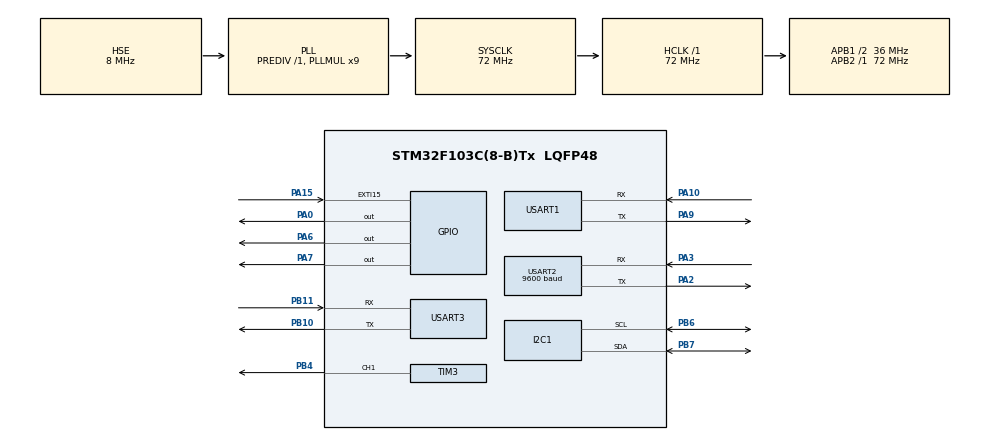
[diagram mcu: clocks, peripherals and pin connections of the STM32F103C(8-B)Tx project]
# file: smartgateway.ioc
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Dma.Request0=USART3_RX
Dma.Request1=USART3_TX
Dma.USART3_RX.0.Direction=DMA_PERIPH_TO_MEMORY
Dma.USART3_RX.0.Instance=DMA1_Channel3
Dma.USART3_RX.0.MemDataAlignment=DMA_MDATAALIGN_BYTE
Dma.USART3_RX.0.MemInc=DMA_MINC_ENABLE
Dma.USART3_RX.0.Mode=DMA_NORMAL
Dma.USART3_RX.0.PeriphDataAlignment=DMA_PDATAALIGN_BYTE
Dma.USART3_RX.0.PeriphInc=DMA_PINC_DISABLE
Dma.USART3_RX.0.Priority=DMA_PRIORITY_LOW
Dma.USART3_TX.1.Direction=DMA_MEMORY_TO_PERIPH
Dma.USART3_TX.1.Instance=DMA1_Channel2
Dma.USART3_TX.1.MemDataAlignment=DMA_MDATAALIGN_BYTE
Dma.USART3_TX.1.MemInc=DMA_MINC_ENABLE
Dma.USART3_TX.1.Mode=DMA_NORMAL
Dma.USART3_TX.1.PeriphDataAlignment=DMA_PDATAALIGN_BYTE
Dma.USART3_TX.1.PeriphInc=DMA_PINC_DISABLE
Dma.USART3_TX.1.Priority=DMA_PRIORITY_LOW
FREERTOS.Tasks01=defaultTask,24,128,StartDefaultTask,Default,NULL,Dynamic,NULL,NULL
FREERTOS.configTOTAL_HEAP_SIZE=6144
Mcu.Family=STM32F1
Mcu.Name=STM32F103C(8-B)Tx
Mcu.Package=LQFP48
NVIC.DMA1_Channel2_IRQn=true\:5\:0\:false\:false\:true\:true\:false\:true\:true
NVIC.DMA1_Channel3_IRQn=true\:5\:0\:false\:false\:true\:true\:false\:true\:true
NVIC.EXTI15_10_IRQn=true\:10\:0\:true\:false\:true\:true\:true\:true\:true
NVIC.PriorityGroup=NVIC_PRIORITYGROUP_4
NVIC.TIM2_IRQn=true\:8\:0\:true\:false\:true\:false\:false\:true\:true
NVIC.TIM4_IRQn=true\:15\:0\:true\:false\:true\:true\:true\:true\:true
NVIC.TimeBase=TIM2_IRQn
NVIC.TimeBaseIP=TIM2
NVIC.USART1_IRQn=true\:10\:0\:true\:false\:true\:true\:true\:true\:true
NVIC.USART3_IRQn=true\:10\:0\:true\:false\:true\:true\:true\:true\:true
PA0-WKUP.Signal=GPIO_Output
PA10.Mode=Asynchronous
PA10.Signal=USART1_RX
PA13.Mode=Serial_Wire
PA13.Signal=SYS_JTMS-SWDIO
PA14.Mode=Serial_Wire
PA14.Signal=SYS_JTCK-SWCLK
PA15.Signal=GPXTI15
PA2.Mode=Asynchronous
PA2.Signal=USART2_TX
PA3.Mode=Asynchronous
PA3.Signal=USART2_RX
PA6.Signal=GPIO_Output
PA7.Signal=GPIO_Output
PA9.Mode=Asynchronous
PA9.Signal=USART1_TX
PB10.Mode=Asynchronous
PB10.Signal=USART3_TX
PB11.Mode=Asynchronous
PB11.Signal=USART3_RX
PB4.Signal=S_TIM3_CH1
PB6.Mode=I2C
PB6.Signal=I2C1_SCL
PB7.Mode=I2C
PB7.Signal=I2C1_SDA
PC14-OSC32_IN.Mode=LSE-External-Oscillator
PC14-OSC32_IN.Signal=RCC_OSC32_IN
PC15-OSC32_OUT.Mode=LSE-External-Oscillator
PC15-OSC32_OUT.Signal=RCC_OSC32_OUT
PD0-OSC_IN.Mode=HSE-External-Oscillator
PD0-OSC_IN.Signal=RCC_OSC_IN
PD1-OSC_OUT.Mode=HSE-External-Oscillator
PD1-OSC_OUT.Signal=RCC_OSC_OUT
ProjectManager.HeapSize=0x800
ProjectManager.StackSize=0x400
ProjectManager.TargetToolchain=MDK-ARM V5.32
RCC.AHBFreq_Value=72000000
RCC.APB1CLKDivider=RCC_HCLK_DIV2
RCC.APB1Freq_Value=36000000
RCC.APB1TimFreq_Value=72000000
RCC.APB2Freq_Value=72000000
RCC.APB2TimFreq_Value=72000000
RCC.HCLKFreq_Value=72000000
RCC.PLLMUL=RCC_PLL_MUL9
RCC.PLLSourceVirtual=RCC_PLLSOURCE_HSE
RCC.SYSCLKFreq_VALUE=72000000
RCC.SYSCLKSource=RCC_SYSCLKSOURCE_PLLCLK
RCC.USBFreq_Value=72000000
SH.S_TIM3_CH1.0=TIM3_CH1,PWM Generation1 CH1
TIM3.Channel-PWM\ Generation1\ CH1=TIM_CHANNEL_1
TIM3.OCPolarity_1=TIM_OCPOLARITY_LOW
TIM3.Period=1000-1
TIM3.Prescaler=72-1
TIM4.Period=50000-1
TIM4.Prescaler=7200-1
USART1.VirtualMode=VM_ASYNC
USART2.BaudRate=9600
USART2.VirtualMode=VM_ASYNC
USART3.VirtualMode=VM_ASYNC
VP_FREERTOS_VS_CMSIS_V2.Mode=CMSIS_V2
VP_SYS_VS_tim2.Mode=TIM2
VP_TIM3_VS_ClockSourceINT.Mode=Internal
VP_TIM4_VS_ClockSourceINT.Mode=Internal
board=custom

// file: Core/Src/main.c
/* USER CODE BEGIN Header */
/**
  ******************************************************************************
  * @file           : main.c
  * @brief          : Main program body
  ******************************************************************************
  * @attention
  *
  * Copyright (c) 2025 STMicroelectronics.
  * All rights reserved.
  *
  * This software is licensed under terms that can be found in the LICENSE file
  * in the root directory of this software component.
  * If no LICENSE file comes with this software, it is provided AS-IS.
  *
  ******************************************************************************
  */
/* USER CODE END Header */
#include "main.h"
#include "cmsis_os.h"
#include "dma.h"
#include "i2c.h"
#include "tim.h"
#include "usart.h"
#include "gpio.h"

/* USER CODE BEGIN Includes */
#include "smarthead.h"
#include "ap3216.h"
/* USER CODE END Includes */

void SystemClock_Config(void);
void MX_FREERTOS_Init(void);

int main(void)
{

  /* MCU Configuration--------------------------------------------------------*/

  /* Reset of all peripherals, Initializes the Flash interface and the Systick. */
  HAL_Init();

  /* Configure the system clock */
  SystemClock_Config();

  /* Initialize all configured peripherals */
  MX_GPIO_Init();
  MX_DMA_Init();
  MX_USART1_UART_Init();
  MX_TIM4_Init();
  MX_TIM3_Init();
  MX_USART3_UART_Init();
  MX_I2C1_Init();
  MX_USART2_UART_Init();
  /* USER CODE BEGIN 2 */
	HAL_TIM_PWM_Start(&htim3,TIM_CHANNEL_1);
	ap3216_init();                     // iic  关掉

  /* USER CODE END 2 */

  /* Init scheduler */
  osKernelInitialize();

  /* Call init function for freertos objects (in cmsis_os2.c) */
  MX_FREERTOS_Init();

  /* Start scheduler */
  osKernelStart();

  /* We should never get here as control is now taken by the scheduler */

  /* Infinite loop */
  while (1)
  {

  }
}

void SystemClock_Config(void)
{
  RCC_OscInitTypeDef RCC_OscInitStruct = {0};
  RCC_ClkInitTypeDef RCC_ClkInitStruct = {0};

  /** Initializes the RCC Oscillators according to the specified parameters
  * in the RCC_OscInitTypeDef structure.
  */
  RCC_OscInitStruct.OscillatorType = RCC_OSCILLATORTYPE_HSE;
  RCC_OscInitStruct.HSEState = RCC_HSE_ON;
  RCC_OscInitStruct.HSEPredivValue = RCC_HSE_PREDIV_DIV1;
  RCC_OscInitStruct.HSIState = RCC_HSI_ON;
  RCC_OscInitStruct.PLL.PLLState = RCC_PLL_ON;
  RCC_OscInitStruct.PLL.PLLSource = RCC_PLLSOURCE_HSE;
  RCC_OscInitStruct.PLL.PLLMUL = RCC_PLL_MUL9;
  if (HAL_RCC_OscConfig(&RCC_OscInitStruct) != HAL_OK)
  {
    Error_Handler();
  }

  /** Initializes the CPU, AHB and APB buses clocks
  */
  RCC_ClkInitStruct.ClockType = RCC_CLOCKTYPE_HCLK|RCC_CLOCKTYPE_SYSCLK
                              |RCC_CLOCKTYPE_PCLK1|RCC_CLOCKTYPE_PCLK2;
  RCC_ClkInitStruct.SYSCLKSource = RCC_SYSCLKSOURCE_PLLCLK;
  RCC_ClkInitStruct.AHBCLKDivider = RCC_SYSCLK_DIV1;
  RCC_ClkInitStruct.APB1CLKDivider = RCC_HCLK_DIV2;
  RCC_ClkInitStruct.APB2CLKDivider = RCC_HCLK_DIV1;

  if (HAL_RCC_ClockConfig(&RCC_ClkInitStruct, FLASH_LATENCY_2) != HAL_OK)
  {
    Error_Handler();
  }
}

void HAL_TIM_PeriodElapsedCallback(TIM_HandleTypeDef *htim)
{
  if (htim->Instance == TIM2) {
    HAL_IncTick();
  }
  /* USER CODE BEGIN Callback 1 */
	if (htim->Instance == TIM4) {
    timeout_reset();
  }
  /* USER CODE END Callback 1 */
}

void Error_Handler(void)
{
  __disable_irq();
  while (1)
  {
  }
}

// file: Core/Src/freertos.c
/* USER CODE BEGIN Header */
/**
  ******************************************************************************
  * File Name          : freertos.c
  * Description        : Code for freertos applications
  ******************************************************************************
  * @attention
  *
  * Copyright (c) 2025 STMicroelectronics.
  * All rights reserved.
  *
  * This software is licensed under terms that can be found in the LICENSE file
  * in the root directory of this software component.
  * If no LICENSE file comes with this software, it is provided AS-IS.
  *
  ******************************************************************************
  */
/* USER CODE END Header */

#include "FreeRTOS.h"
#include "task.h"
#include "main.h"
#include "cmsis_os.h"

/* USER CODE BEGIN PTD */
extern void testsmartgateway001init(void);
extern void uart_interrupt_init(void);
extern void task_receive_init(void);
extern void send_AT_commend_task(void);
extern void flash_task_init(void);
extern void dma_receive_interrupt_init(void);
/* USER CODE END PTD */

/* Definitions for defaultTask */
osThreadId_t defaultTaskHandle;
const osThreadAttr_t defaultTask_attributes = {
  .name = "defaultTask",
  .stack_size = 128 * 4,
  .priority = (osPriority_t) osPriorityNormal,
};

void StartDefaultTask(void *argument);

void MX_FREERTOS_Init(void); /* (MISRA C 2004 rule 8.1) */

void MX_FREERTOS_Init(void) {
  /* USER CODE BEGIN Init */
	dma_receive_interrupt_init();

  /* USER CODE END Init */

  /* Create the thread(s) */
  /* creation of defaultTask */
  defaultTaskHandle = osThreadNew(StartDefaultTask, NULL, &defaultTask_attributes);

  /* USER CODE BEGIN RTOS_THREADS */
  /* add threads, ... */
  //testsmartgateway001init();

	task_receive_init();
	send_AT_commend_task();
	// flash_task_init()
  /* USER CODE END RTOS_THREADS */

}

void StartDefaultTask(void *argument)
{
  /* USER CODE BEGIN StartDefaultTask */
  /* Infinite loop */
	uart_interrupt_init();
  for(;;)
  {
    //osDelay(1);
  }
  /* USER CODE END StartDefaultTask */
}
